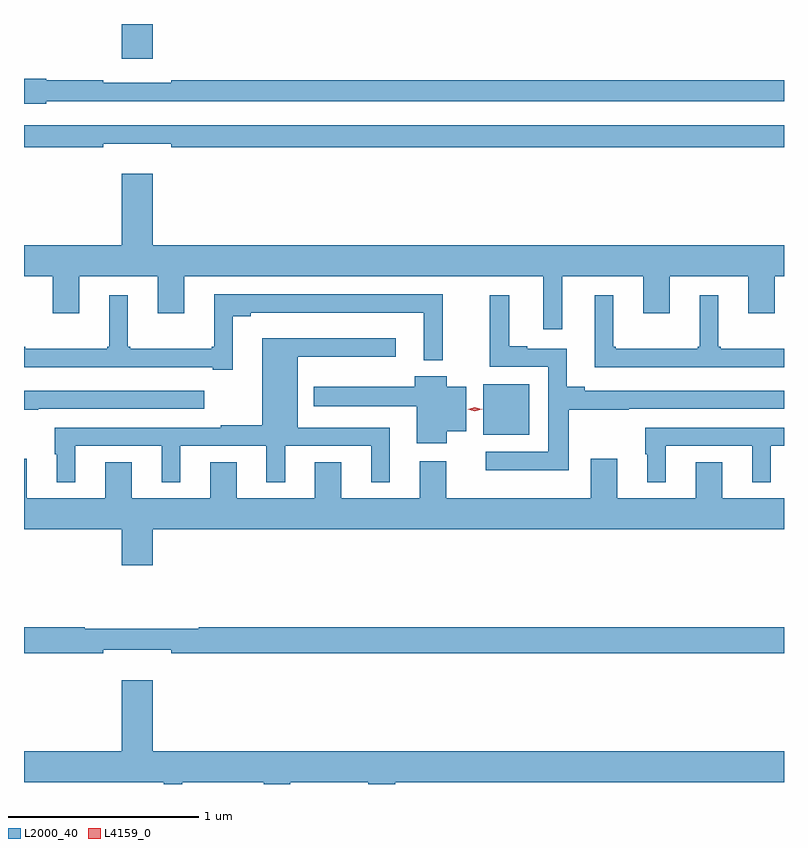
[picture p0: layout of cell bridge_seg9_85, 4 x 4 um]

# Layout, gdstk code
import gdstk
lib = gdstk.Library(unit=1e-6, precision=1e-09)
def R(c, l, rs):  # rectangles x0, y0, x1, y1
    for r in rs: c.add(gdstk.rectangle(r[:2], r[2:], *l))
def P(c, l, *ps):  # polygons
    for p in ps: c.add(gdstk.Polygon(p, *l))
L2000_40 = (2000, 40)
L4159_0 = (4159, 0)

bridge_seg9_85 = lib.new_cell('bridge_seg9_85')
R(bridge_seg9_85, L2000_40, [(838.238,1232.882,838.48,1233.148), (836.336,1234.86,836.5,1235.044)])
P(bridge_seg9_85, L2000_40, [(835.938,1234.638),(839.822,1234.638),(839.822,1234.747),(836.596,1234.747),(836.596,1234.734),(836.24,1234.734),(836.24,1234.747),(835.938,1234.747),(835.938,1234.755),(835.822,1234.755),(835.822,1234.625),(835.938,1234.625)],
  [(836.24,1234.415),(836.596,1234.415),(836.596,1234.396),(839.822,1234.396),(839.822,1234.512),(835.822,1234.512),(835.822,1234.396),(836.24,1234.396)],
  [(838.654,1233.716),(839.081,1233.716),(839.081,1233.522),(839.221,1233.522),(839.221,1233.716),(839.633,1233.716),(839.633,1233.522),(839.773,1233.522),(839.773,1233.716),(839.822,1233.716),(839.822,1233.88),(836.5,1233.88),(836.5,1234.255),(836.336,1234.255),(836.336,1233.88),(835.822,1233.88),(835.822,1233.716),(835.973,1233.716),(835.973,1233.522),(836.113,1233.522),(836.113,1233.716),(836.525,1233.716),(836.525,1233.522),(836.665,1233.522),(836.665,1233.716),(838.556,1233.716),(838.556,1233.438),(838.654,1233.438)],
  [(836.92,1233.505),(837.016,1233.505),(837.016,1233.524),(837.926,1233.524),(837.926,1233.275),(838.026,1233.275),(838.026,1233.621),(836.822,1233.621),(836.822,1233.346),(836.811,1233.346),(836.811,1233.335),(836.38,1233.335),(836.38,1233.346),(836.368,1233.346),(836.368,1233.616),(836.27,1233.616),(836.27,1233.346),(836.259,1233.346),(836.259,1233.335),(835.828,1233.335),(835.828,1233.346),(835.822,1233.346),(835.822,1233.237),(836.816,1233.237),(836.816,1233.225),(836.92,1233.225)],
  [(838.69,1233.013),(839.006,1233.013),(839.006,1233.018),(839.822,1233.018),(839.822,1233.114),(838.774,1233.114),(838.774,1233.134),(838.678,1233.134),(838.678,1233.336),(838.471,1233.336),(838.471,1233.349),(838.375,1233.349),(838.375,1233.616),(838.274,1233.616),(838.274,1233.24),(838.581,1233.24),(838.581,1232.793),(838.251,1232.793),(838.251,1232.696),(838.69,1232.696)],
  [(839.822,1233.335),(839.488,1233.335),(839.488,1233.346),(839.476,1233.346),(839.476,1233.616),(839.378,1233.616),(839.378,1233.346),(839.367,1233.346),(839.367,1233.335),(838.936,1233.335),(838.936,1233.346),(838.924,1233.346),(838.924,1233.616),(838.826,1233.616),(838.826,1233.237),(839.822,1233.237)],
  [(836.092,1232.823),(836.546,1232.823),(836.546,1232.633),(836.644,1232.633),(836.644,1232.823),(837.098,1232.823),(837.098,1232.633),(837.196,1232.633),(837.196,1232.823),(837.65,1232.823),(837.65,1232.633),(837.748,1232.633),(837.748,1232.919),(837.262,1232.919),(837.262,1233.293),(837.778,1233.293),(837.778,1233.391),(837.077,1233.391),(837.077,1232.932),(836.857,1232.932),(836.857,1232.919),(835.983,1232.919),(835.983,1232.78),(835.994,1232.78),(835.994,1232.633),(836.092,1232.633)],
  [(838.048,1232.9),(838.15,1232.9),(838.15,1233.136),(838.048,1233.136),(838.048,1233.19),(837.878,1233.19),(837.878,1233.136),(837.347,1233.136),(837.347,1233.032),(837.89,1233.032),(837.89,1232.838),(838.048,1232.838)],
  [(835.898,1233.018),(836.77,1233.018),(836.77,1233.114),(835.822,1233.114),(835.822,1233.013),(835.898,1233.013)],
  [(839.2,1232.823),(839.654,1232.823),(839.654,1232.633),(839.752,1232.633),(839.752,1232.823),(839.822,1232.823),(839.822,1232.919),(839.091,1232.919),(839.091,1232.78),(839.102,1232.78),(839.102,1232.633),(839.2,1232.633)],
  [(836.5,1232.384),(839.822,1232.384),(839.822,1232.548),(839.497,1232.548),(839.497,1232.738),(839.357,1232.738),(839.357,1232.548),(838.945,1232.548),(838.945,1232.755),(838.805,1232.755),(838.805,1232.548),(838.045,1232.548),(838.045,1232.743),(837.905,1232.743),(837.905,1232.548),(837.493,1232.548),(837.493,1232.738),(837.353,1232.738),(837.353,1232.548),(836.941,1232.548),(836.941,1232.738),(836.801,1232.738),(836.801,1232.548),(836.389,1232.548),(836.389,1232.738),(836.249,1232.738),(836.249,1232.548),(835.837,1232.548),(835.837,1232.755),(835.822,1232.755),(835.822,1232.384),(836.336,1232.384),(836.336,1232.196),(836.5,1232.196)],
  [(836.24,1231.751),(836.596,1231.751),(836.596,1231.732),(839.822,1231.732),(839.822,1231.868),(836.741,1231.868),(836.741,1231.861),(836.141,1231.861),(836.141,1231.868),(835.822,1231.868),(835.822,1231.732),(836.24,1231.732)],
  [(836.656,1231.052),(837.083,1231.052),(837.083,1231.044),(837.223,1231.044),(837.223,1231.052),(837.635,1231.052),(837.635,1231.044),(837.775,1231.044),(837.775,1231.052),(839.822,1231.052),(839.822,1231.216),(836.5,1231.216),(836.5,1231.591),(836.336,1231.591),(836.336,1231.216),(835.822,1231.216),(835.822,1231.052),(836.558,1231.052),(836.558,1231.044),(836.656,1231.044)])
P(bridge_seg9_85, L4159_0, [(838.195,1233.007),(838.157,1233.017),(838.157,1233.017),(838.157,1233.017),(838.195,1233.027),(838.232,1233.017),(838.233,1233.017),(838.232,1233.017)])

lib.write_gds('bridge_seg9_85.gds')
